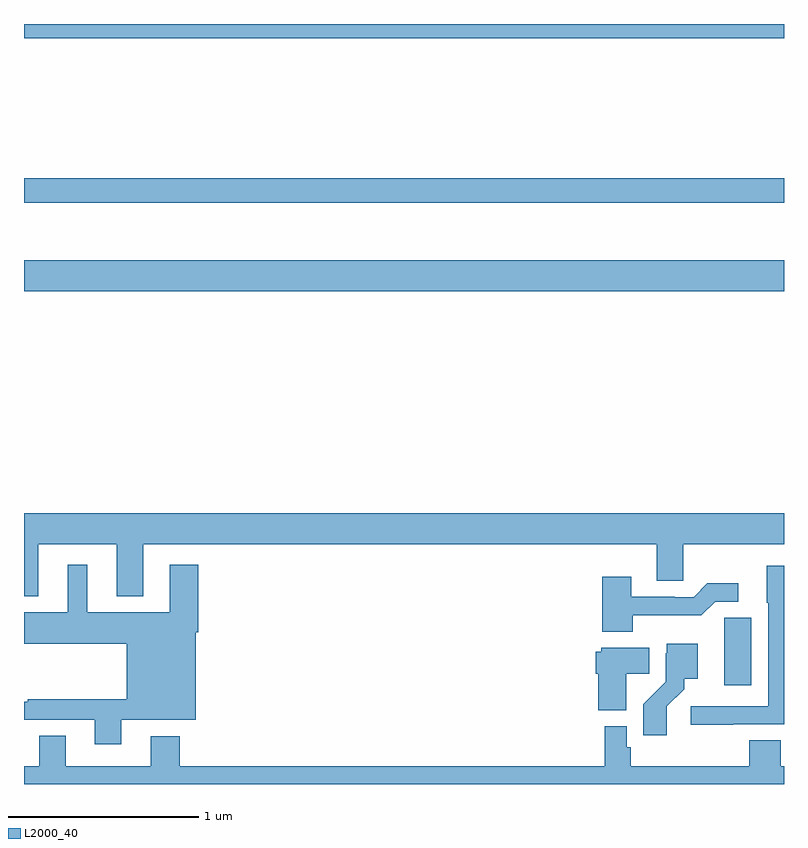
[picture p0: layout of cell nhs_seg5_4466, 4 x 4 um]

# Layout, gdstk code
import gdstk
lib = gdstk.Library(unit=1e-6, precision=1e-09)
def R(c, l, rs):  # rectangles x0, y0, x1, y1
    for r in rs: c.add(gdstk.rectangle(r[:2], r[2:], *l))
def P(c, l, *ps):  # polygons
    for p in ps: c.add(gdstk.Polygon(p, *l))
L2000_40 = (2000, 40)

nhs_seg5_4466 = lib.new_cell('nhs_seg5_4466')
R(nhs_seg5_4466, L2000_40, [(373,891.392,377,891.556), (373,891.858,377,891.986), (373,892.724,377,892.799)])
P(nhs_seg5_4466, L2000_40, [(373.075,890.06),(373.487,890.06),(373.487,889.787),(373.627,889.787),(373.627,890.06),(376.331,890.06),(376.331,889.87),(376.47,889.87),(376.47,890.06),(377,890.06),(377,890.224),(373,890.224),(373,889.787),(373.075,889.787)],
  [(373.513,889.136),(373.903,889.136),(373.903,889.598),(373.916,889.598),(373.916,889.954),(373.766,889.954),(373.766,889.702),(373.333,889.702),(373.333,889.954),(373.229,889.954),(373.229,889.702),(373,889.702),(373,889.538),(373.541,889.538),(373.541,889.246),(373.021,889.246),(373.021,889.233),(373,889.233),(373,889.137),(373.373,889.137),(373.373,889.008),(373.513,889.008)],
  [(376.733,889.113),(377,889.113),(377,889.948),(376.91,889.948),(376.91,889.752),(376.917,889.752),(376.917,889.209),(376.509,889.209),(376.509,889.111),(376.733,889.111)],
  [(376.203,889.686),(376.565,889.686),(376.638,889.758),(376.759,889.758),(376.759,889.855),(376.597,889.855),(376.524,889.782),(376.424,889.782),(376.424,889.785),(376.195,889.785),(376.195,889.891),(376.043,889.891),(376.043,889.601),(376.203,889.601)],
  [(376.828,889.673),(376.686,889.673),(376.686,889.562),(376.685,889.562),(376.685,889.32),(376.828,889.32)],
  [(376.384,889.207),(376.474,889.297),(376.474,889.352),(376.546,889.352),(376.546,889.537),(376.382,889.537),(376.382,889.488),(376.377,889.488),(376.377,889.337),(376.258,889.218),(376.258,889.056),(376.384,889.056)],
  [(376.171,889.378),(376.292,889.378),(376.292,889.516),(376.038,889.516),(376.038,889.494),(376.01,889.494),(376.01,889.38),(376.022,889.38),(376.022,889.187),(376.171,889.187)],
  [(377,888.892),(376.982,888.892),(376.982,889.028),(376.817,889.028),(376.817,888.892),(376.193,888.892),(376.193,888.993),(376.173,888.993),(376.173,889.102),(376.057,889.102),(376.057,888.892),(373.82,888.892),(373.82,889.051),(373.667,889.051),(373.667,888.892),(373.219,888.892),(373.219,889.052),(373.079,889.052),(373.079,888.892),(373,888.892),(373,888.799),(377,888.799)])

lib.write_gds('nhs_seg5_4466.gds')
